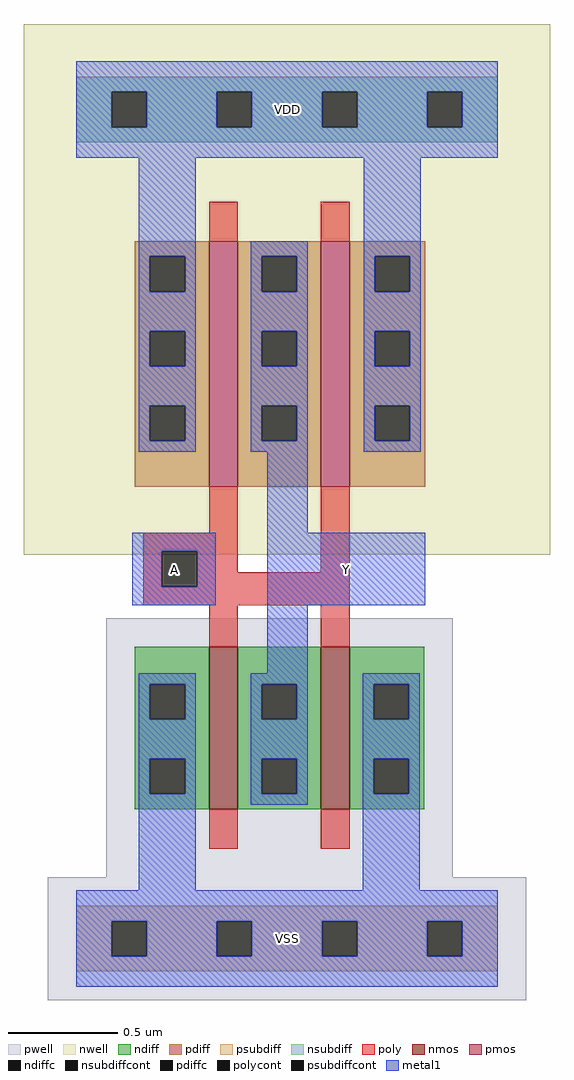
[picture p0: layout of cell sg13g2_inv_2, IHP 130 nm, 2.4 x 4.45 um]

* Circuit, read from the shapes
.subckt sg13g2_inv_2 VSS VDD Y A
XM1 Y A VSS VSS sg13_lv_nmos w=0.74u l=0.13u m=2
XM2 Y A VDD VDD sg13_lv_pmos w=1.12u l=0.13u m=2
.ends

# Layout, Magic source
magic
tech ihp-sg13g2
magscale 1 2
<< nwell >>
rect -48 350 432 834
<< pwell >>
rect 27 56 343 292
rect -26 -56 410 56
<< nmos >>
rect 121 118 147 266
rect 223 118 249 266
<< pmos >>
rect 121 412 147 636
rect 223 412 249 636
<< ndiff >>
rect 53 232 121 266
rect 53 200 67 232
rect 99 200 121 232
rect 53 164 121 200
rect 53 132 67 164
rect 99 132 121 164
rect 53 118 121 132
rect 147 232 223 266
rect 147 200 169 232
rect 201 200 223 232
rect 147 164 223 200
rect 147 132 169 164
rect 201 132 223 164
rect 147 118 223 132
rect 249 232 317 266
rect 249 200 271 232
rect 303 200 317 232
rect 249 164 317 200
rect 249 132 271 164
rect 303 132 317 164
rect 249 118 317 132
<< pdiff >>
rect 53 622 121 636
rect 53 590 67 622
rect 99 590 121 622
rect 53 554 121 590
rect 53 522 67 554
rect 99 522 121 554
rect 53 486 121 522
rect 53 454 67 486
rect 99 454 121 486
rect 53 412 121 454
rect 147 622 223 636
rect 147 590 169 622
rect 201 590 223 622
rect 147 554 223 590
rect 147 522 169 554
rect 201 522 223 554
rect 147 486 223 522
rect 147 454 169 486
rect 201 454 223 486
rect 147 412 223 454
rect 249 622 318 636
rect 249 590 272 622
rect 304 590 318 622
rect 249 554 318 590
rect 249 522 272 554
rect 304 522 318 554
rect 249 486 318 522
rect 249 454 272 486
rect 304 454 318 486
rect 249 412 318 454
<< ndiffc >>
rect 67 200 99 232
rect 67 132 99 164
rect 169 200 201 232
rect 169 132 201 164
rect 271 200 303 232
rect 271 132 303 164
<< pdiffc >>
rect 67 590 99 622
rect 67 522 99 554
rect 67 454 99 486
rect 169 590 201 622
rect 169 522 201 554
rect 169 454 201 486
rect 272 590 304 622
rect 272 522 304 554
rect 272 454 304 486
<< psubdiff >>
rect 0 16 384 30
rect 0 -16 32 16
rect 64 -16 128 16
rect 160 -16 224 16
rect 256 -16 320 16
rect 352 -16 384 16
rect 0 -30 384 -16
<< nsubdiff >>
rect 0 772 384 786
rect 0 740 32 772
rect 64 740 128 772
rect 160 740 224 772
rect 256 740 320 772
rect 352 740 384 772
rect 0 726 384 740
<< psubdiffcont >>
rect 32 -16 64 16
rect 128 -16 160 16
rect 224 -16 256 16
rect 320 -16 352 16
<< nsubdiffcont >>
rect 32 740 64 772
rect 128 740 160 772
rect 224 740 256 772
rect 320 740 352 772
<< poly >>
rect 121 636 147 672
rect 223 636 249 672
rect 121 370 147 412
rect 61 353 147 370
rect 61 321 78 353
rect 110 334 147 353
rect 223 334 249 412
rect 110 321 249 334
rect 61 304 249 321
rect 121 266 147 304
rect 223 266 249 304
rect 121 82 147 118
rect 223 82 249 118
<< polycont >>
rect 78 321 110 353
<< metal1 >>
rect 0 772 384 800
rect 0 740 32 772
rect 64 740 128 772
rect 160 740 224 772
rect 256 740 320 772
rect 352 740 384 772
rect 0 712 384 740
rect 57 622 109 712
rect 57 590 67 622
rect 99 590 109 622
rect 57 554 109 590
rect 57 522 67 554
rect 99 522 109 554
rect 57 486 109 522
rect 57 454 67 486
rect 99 454 109 486
rect 57 444 109 454
rect 159 622 211 636
rect 159 590 169 622
rect 201 590 211 622
rect 159 554 211 590
rect 159 522 169 554
rect 201 522 211 554
rect 159 486 211 522
rect 159 454 169 486
rect 201 454 211 486
rect 159 444 211 454
rect 262 622 314 712
rect 262 590 272 622
rect 304 590 314 622
rect 262 554 314 590
rect 262 522 272 554
rect 304 522 314 554
rect 262 486 314 522
rect 262 454 272 486
rect 304 454 314 486
rect 262 444 314 454
rect 174 370 211 444
rect 51 353 127 370
rect 51 321 78 353
rect 110 321 127 353
rect 51 304 127 321
rect 174 304 318 370
rect 174 242 211 304
rect 57 232 109 242
rect 57 200 67 232
rect 99 200 109 232
rect 57 164 109 200
rect 57 132 67 164
rect 99 132 109 164
rect 57 44 109 132
rect 159 232 211 242
rect 159 200 169 232
rect 201 200 211 232
rect 159 164 211 200
rect 159 132 169 164
rect 201 132 211 164
rect 159 122 211 132
rect 261 232 313 242
rect 261 200 271 232
rect 303 200 313 232
rect 261 164 313 200
rect 261 132 271 164
rect 303 132 313 164
rect 261 44 313 132
rect 0 16 384 44
rect 0 -16 32 16
rect 64 -16 128 16
rect 160 -16 224 16
rect 256 -16 320 16
rect 352 -16 384 16
rect 0 -44 384 -16
<< labels >>
flabel metal1 s 0 -44 384 44 0 FreeSans 400 0 0 0 VSS
port 2 nsew
flabel metal1 s 0 712 384 800 0 FreeSans 400 0 0 0 VDD
port 3 nsew
flabel metal1 s 174 304 318 370 0 FreeSans 400 0 0 0 Y
port 4 nsew
flabel metal1 s 51 304 127 370 0 FreeSans 400 0 0 0 A
port 5 nsew
<< properties >>
string FIXED_BBOX 0 0 384 756
string GDS_END 228462
string GDS_FILE 6_final.gds
string GDS_START 224758
<< end >>
